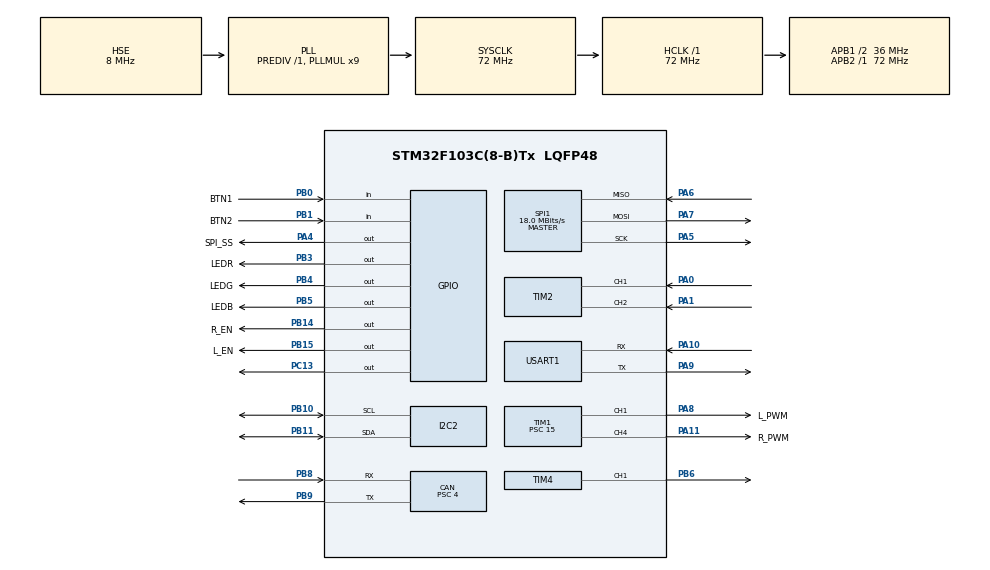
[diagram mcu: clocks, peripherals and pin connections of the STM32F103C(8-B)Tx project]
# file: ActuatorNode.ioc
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CAN.BS1=CAN_BS1_13TQ
CAN.BS2=CAN_BS2_4TQ
CAN.CalculateBaudRate=500000
CAN.CalculateTimeBit=2000
CAN.CalculateTimeQuantum=111.11111111111111
CAN.Prescaler=4
CAN.SJW=CAN_SJW_2TQ
Mcu.Family=STM32F1
Mcu.Name=STM32F103C(8-B)Tx
Mcu.Package=LQFP48
NVIC.CAN1_RX1_IRQn=true\:0\:0\:false\:false\:true\:true\:true\:true
NVIC.PriorityGroup=NVIC_PRIORITYGROUP_4
NVIC.TIM2_IRQn=true\:0\:0\:false\:false\:true\:true\:true\:true
NVIC.TIM3_IRQn=true\:0\:0\:false\:false\:true\:true\:true\:true
PA0-WKUP.Signal=S_TIM2_CH1_ETR
PA1.Signal=S_TIM2_CH2
PA10.Mode=Asynchronous
PA10.Signal=USART1_RX
PA11.GPIO_Label=R_PWM
PA11.Signal=S_TIM1_CH4
PA4.GPIO_Label=SPI_SS
PA4.Signal=GPIO_Output
PA5.Mode=Full_Duplex_Master
PA5.Signal=SPI1_SCK
PA6.Mode=Full_Duplex_Master
PA6.Signal=SPI1_MISO
PA7.Mode=Full_Duplex_Master
PA7.Signal=SPI1_MOSI
PA8.GPIO_Label=L_PWM
PA8.Signal=S_TIM1_CH1
PA9.Mode=Asynchronous
PA9.Signal=USART1_TX
PB0.GPIO_Label=BTN1
PB0.Signal=GPIO_Input
PB1.GPIO_Label=BTN2
PB1.Signal=GPIO_Input
PB10.Mode=I2C
PB10.Signal=I2C2_SCL
PB11.Mode=I2C
PB11.Signal=I2C2_SDA
PB14.GPIO_Label=R_EN
PB14.Signal=GPIO_Output
PB15.GPIO_Label=L_EN
PB15.Signal=GPIO_Output
PB3.GPIO_Label=LEDR
PB3.PinState=GPIO_PIN_SET
PB3.Signal=GPIO_Output
PB4.GPIO_Label=LEDG
PB4.PinState=GPIO_PIN_SET
PB4.Signal=GPIO_Output
PB5.GPIO_Label=LEDB
PB5.PinState=GPIO_PIN_SET
PB5.Signal=GPIO_Output
PB6.Signal=S_TIM4_CH1
PB8.Mode=CAN_Activate
PB8.Signal=CAN_RX
PB9.Mode=CAN_Activate
PB9.Signal=CAN_TX
PC13-TAMPER-RTC.GPIO_PuPd=GPIO_PULLUP
PC13-TAMPER-RTC.Signal=GPIO_Output
PD0-OSC_IN.Mode=HSE-External-Oscillator
PD0-OSC_IN.Signal=RCC_OSC_IN
PD1-OSC_OUT.Mode=HSE-External-Oscillator
PD1-OSC_OUT.Signal=RCC_OSC_OUT
ProjectManager.HeapSize=0x200
ProjectManager.StackSize=0x400
ProjectManager.TargetToolchain=STM32CubeIDE
RCC.AHBFreq_Value=72000000
RCC.APB1CLKDivider=RCC_HCLK_DIV2
RCC.APB1Freq_Value=36000000
RCC.APB1TimFreq_Value=72000000
RCC.APB2Freq_Value=72000000
RCC.APB2TimFreq_Value=72000000
RCC.HCLKFreq_Value=72000000
RCC.PLLMUL=RCC_PLL_MUL9
RCC.PLLSourceVirtual=RCC_PLLSOURCE_HSE
RCC.SYSCLKFreq_VALUE=72000000
RCC.SYSCLKSource=RCC_SYSCLKSOURCE_PLLCLK
RCC.USBFreq_Value=72000000
SH.S_TIM1_CH1.0=TIM1_CH1,PWM Generation1 CH1
SH.S_TIM1_CH4.0=TIM1_CH4,PWM Generation4 CH4
SH.S_TIM2_CH1_ETR.0=TIM2_CH1,Encoder_Interface
SH.S_TIM2_CH2.0=TIM2_CH2,Encoder_Interface
SH.S_TIM4_CH1.0=TIM4_CH1,PWM Generation1 CH1
SPI1.BaudRatePrescaler=SPI_BAUDRATEPRESCALER_4
SPI1.CalculateBaudRate=18.0 MBits/s
SPI1.Direction=SPI_DIRECTION_2LINES
SPI1.Mode=SPI_MODE_MASTER
SPI1.VirtualType=VM_MASTER
TIM1.Channel-PWM\ Generation1\ CH1=TIM_CHANNEL_1
TIM1.Channel-PWM\ Generation4\ CH4=TIM_CHANNEL_4
TIM1.Period=99
TIM1.Prescaler=15
TIM3.Period=199
TIM3.Prescaler=35999
TIM4.Channel-PWM\ Generation1\ CH1=TIM_CHANNEL_1
TIM4.Period=1999
TIM4.Prescaler=719
USART1.VirtualMode=VM_ASYNC
VP_TIM3_VS_ClockSourceINT.Mode=Internal
board=custom

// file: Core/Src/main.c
/* USER CODE BEGIN Header */
/**
  ******************************************************************************
  * @file           : main.c
  * @brief          : Main program body
  ******************************************************************************
  * @attention
  *
  * Copyright (c) 2023 STMicroelectronics.
  * All rights reserved.
  *
  * This software is licensed under terms that can be found in the LICENSE file
  * in the root directory of this software component.
  * If no LICENSE file comes with this software, it is provided AS-IS.
  *
  ******************************************************************************
  */
/* USER CODE END Header */

#include "main.h"

/* USER CODE BEGIN Includes */
#include "gpio.h"
#include "timer.h"
#include "uart.h"
#include "can_project_actuator.h"
#include "motor.h"
#include "servo.h"
#include "pid.h"
/* USER CODE END Includes */

CAN_HandleTypeDef hcan;

I2C_HandleTypeDef hi2c2;

SPI_HandleTypeDef hspi1;

TIM_HandleTypeDef htim1;
TIM_HandleTypeDef htim2;
TIM_HandleTypeDef htim3;
TIM_HandleTypeDef htim4;

UART_HandleTypeDef huart1;

/* USER CODE BEGIN PV */
/* CAN Tx variables */
CAN_TxHeaderTypeDef CANTxHeader;
uint8_t CANTxBuffer[] = {0x01, 0x02, 0x00, 0x00, 0x00, 0x00, 0x00, 0x00};
uint32_t CANTxMailboxes = CAN_TX_MAILBOX1;
/* CAN Rx variables */
extern uint8_t CANRxBuffer[];
extern uint8_t CANDiagnosticRequestRcvFlag;
extern CAN_RxHeaderTypeDef CANRxHeader;
CANActuatorData CANTxData = {.sequence = 0, .speed = CAN_SPEED_MIN};
uint8_t last_seq = 0, cur_seq;
extern uint32_t timeElapsed;
motorConfig	motor1;
encoderMotor encoderInfo = {.encodeCnt = 0, .position = 0, .preEncoderCnt = 0, .prePosition = 0, .speed = 0, .timeIndex = 0, .numRoundPerSec = 0};
PIDInfor pidInfor = {.kp = KP, .ki = KI, .kd = KD, .error = 0, .prevError = 0, .errorIntergral = 0, .currT = 0, .prevT = 0, .deltaT = 0, .outputPID = 0, .timeCountPID = 0};
int timeCountTest = 0;
int timeCountTest2 = 0;
float des_speed = 13;    // xe bự 40
float cur_speed = CAN_SPEED_MIN;
extern uint8_t CANDataRcvFlag;
extern uint8_t urgent_mode;
uint8_t backward = 0;
uint8_t isPrint = false;

/* USER CODE END PV */

void SystemClock_Config(void);
static void MX_GPIO_Init(void);
static void MX_I2C2_Init(void);
static void MX_SPI1_Init(void);
static void MX_TIM2_Init(void);
static void MX_TIM3_Init(void);
static void MX_TIM4_Init(void);
static void MX_USART1_UART_Init(void);
static void MX_CAN_Init(void);
static void MX_TIM1_Init(void);

int main(void)
{

  /* MCU Configuration--------------------------------------------------------*/

  /* Reset of all peripherals, Initializes the Flash interface and the Systick. */
  HAL_Init();

  /* Configure the system clock */
  SystemClock_Config();

  /* Initialize all configured peripherals */
  MX_GPIO_Init();
  MX_I2C2_Init();
  MX_SPI1_Init();
  MX_TIM2_Init();
  MX_TIM3_Init();
  MX_TIM4_Init();
  MX_USART1_UART_Init();
  MX_CAN_Init();
  MX_TIM1_Init();
  /* USER CODE BEGIN 2 */
  HAL_TIM_Base_Start_IT(&htim3);
  if (HAL_CAN_Start(&hcan) != HAL_OK)
  {
	  Error_Handler();
  }
  HAL_CAN_ActivateNotification(&hcan, CAN_IT_RX_FIFO1_MSG_PENDING);

  startEncoder();
  motorInit(&motor1, &htim1, TIM_CHANNEL_1, TIM_CHANNEL_4, L_EN_GPIO_Port, L_EN_Pin, R_EN_GPIO_Port, R_EN_Pin);
  startMotor(&motor1);
  initServo();
  printf("Actuator\n");
  uint8_t PWM = 0;
  float outPID = 0;
  uint8_t angle;
  /* USER CODE END 2 */

  /* Infinite loop */
  /* USER CODE BEGIN WHILE */
  while (1)
  {
	updateEncoder();
	cur_speed = encoderInfo.speed;
	if (CANDataRcvFlag == 1 )
	{
		CANTxData.sequence++;
		CANTxData.speed = (uint8_t)cur_speed;
		des_speed = (float)CANRxBuffer[CAN_SENSOR_DATA_SPEED_IDX];
		timeElapsed = 0;
		CANDataRcvFlag = 0;
		cur_seq = CANRxBuffer[CAN_DATA_SEQ_IDX] << 8 |
					CANRxBuffer[CAN_DATA_SEQ_IDX+1];
		uint8_t direction1 = CANRxBuffer[CAN_SENSOR_DATA_DIRECT1_IDX];
		uint8_t direction2 = CANRxBuffer[CAN_SENSOR_DATA_DIRECT2_IDX];
		if (urgent_mode == 1)
		{
			if (cur_speed > CAN_SPEED_MIN)
			{
				outPID = PID(cur_speed - 7, cur_speed);
//				PWM = speedToPWM((float)outPID);
//				PWM = speedToPWM((float)(cur_speed - 7));
//				goForward(&motor1, PWM);
				stopMotor(&motor1);
			}
			else
			{
				urgent_mode = 0;
			}
		}
		else
		{
			if (cur_seq == last_seq)
			{
				urgent_mode = 1;
			}
			else
			{
				des_speed = CANRxBuffer[CAN_SENSOR_DATA_SPEED_IDX];
				switch (direction1)
				{
					case(CONTROL_DIR_FORWARD):
					{
						backward = 0;
						break;
					}
					case(CONTROL_DIR_BACKWARD):
					{
						backward = 1;
						des_speed = -des_speed;
						break;
					}
					default:
					{
						break;
					}
				}
				switch (direction2)
				{
					case(CONTROL_DIR_RIGHT):
					{
						angle = 10; //15
						break;
					}
					case(CONTROL_DIR_LEFT):
					{
						angle = 80; //90
						break;
					}
					case(CONTROL_DIR_STRAIGHT):
					{
						angle = 50; //90
						break;
					}
					default:
					{
						break;
					}
				}
				setAngle(angle);
				outPID = PID(des_speed, cur_speed);
//				PWM = speedToPWM((float)(outPID < 0) ? -outPID : outPID);
				PWM = speedToPWM((float)(13));
				if (backward == 1)
				{
					goReverse(&motor1, PWM);
				}
				else
				{
					goForward(&motor1, PWM);
				}
			}
		}
//		cur_speed = encoderInfo.speed;
		CANTxData.speed = (uint8_t)cur_speed;
		last_seq = cur_seq;
		CANActuatorResponse(&hcan, &CANTxData);
		if(timeCountTest > 200)
		{
			printf("\n\n%.02f", cur_speed);
			printf("\n\n%.02f", cur_speed);
			timeCountTest = 0;
		}
      /* USER CODE END WHILE */

      }
    }
}

void SystemClock_Config(void)
{
  RCC_OscInitTypeDef RCC_OscInitStruct = {0};
  RCC_ClkInitTypeDef RCC_ClkInitStruct = {0};

  /** Initializes the RCC Oscillators according to the specified parameters
  * in the RCC_OscInitTypeDef structure.
  */
  RCC_OscInitStruct.OscillatorType = RCC_OSCILLATORTYPE_HSE;
  RCC_OscInitStruct.HSEState = RCC_HSE_ON;
  RCC_OscInitStruct.HSEPredivValue = RCC_HSE_PREDIV_DIV1;
  RCC_OscInitStruct.HSIState = RCC_HSI_ON;
  RCC_OscInitStruct.PLL.PLLState = RCC_PLL_ON;
  RCC_OscInitStruct.PLL.PLLSource = RCC_PLLSOURCE_HSE;
  RCC_OscInitStruct.PLL.PLLMUL = RCC_PLL_MUL9;
  if (HAL_RCC_OscConfig(&RCC_OscInitStruct) != HAL_OK)
  {
    Error_Handler();
  }

  /** Initializes the CPU, AHB and APB buses clocks
  */
  RCC_ClkInitStruct.ClockType = RCC_CLOCKTYPE_HCLK|RCC_CLOCKTYPE_SYSCLK
                              |RCC_CLOCKTYPE_PCLK1|RCC_CLOCKTYPE_PCLK2;
  RCC_ClkInitStruct.SYSCLKSource = RCC_SYSCLKSOURCE_PLLCLK;
  RCC_ClkInitStruct.AHBCLKDivider = RCC_SYSCLK_DIV1;
  RCC_ClkInitStruct.APB1CLKDivider = RCC_HCLK_DIV2;
  RCC_ClkInitStruct.APB2CLKDivider = RCC_HCLK_DIV1;

  if (HAL_RCC_ClockConfig(&RCC_ClkInitStruct, FLASH_LATENCY_2) != HAL_OK)
  {
    Error_Handler();
  }
}

static void MX_CAN_Init(void)
{

  hcan.Instance = CAN1;
  hcan.Init.Prescaler = 4;
  hcan.Init.Mode = CAN_MODE_NORMAL;
  hcan.Init.SyncJumpWidth = CAN_SJW_2TQ;
  hcan.Init.TimeSeg1 = CAN_BS1_13TQ;
  hcan.Init.TimeSeg2 = CAN_BS2_4TQ;
  hcan.Init.TimeTriggeredMode = DISABLE;
  hcan.Init.AutoBusOff = DISABLE;
  hcan.Init.AutoWakeUp = DISABLE;
  hcan.Init.AutoRetransmission = DISABLE;
  hcan.Init.ReceiveFifoLocked = DISABLE;
  hcan.Init.TransmitFifoPriority = DISABLE;
  if (HAL_CAN_Init(&hcan) != HAL_OK)
  {
    Error_Handler();
  }
  /* USER CODE BEGIN CAN_Init 2 */
  CAN_FilterTypeDef canfilterconfig;

  canfilterconfig.FilterActivation = CAN_FILTER_ENABLE;
  canfilterconfig.FilterBank = 12;  // which filter bank to use from the assigned ones
  canfilterconfig.FilterFIFOAssignment = CAN_FILTER_FIFO1;
  canfilterconfig.FilterIdHigh = CAN_PROJECT_SENSOR_STDID<<5;
  canfilterconfig.FilterIdLow = 0;
  canfilterconfig.FilterMaskIdHigh = CAN_PROJECT_SENSOR_STDID<<5;
  canfilterconfig.FilterMaskIdLow = 0x0000;
  canfilterconfig.FilterMode = CAN_FILTERMODE_IDMASK;
  canfilterconfig.FilterScale = CAN_FILTERSCALE_32BIT;
  canfilterconfig.SlaveStartFilterBank = 13;  // how many filters to assign to the CAN1 (master can)

  HAL_CAN_ConfigFilter(&hcan, &canfilterconfig);
  /* USER CODE END CAN_Init 2 */

}

static void MX_I2C2_Init(void)
{

  hi2c2.Instance = I2C2;
  hi2c2.Init.ClockSpeed = 100000;
  hi2c2.Init.DutyCycle = I2C_DUTYCYCLE_2;
  hi2c2.Init.OwnAddress1 = 0;
  hi2c2.Init.AddressingMode = I2C_ADDRESSINGMODE_7BIT;
  hi2c2.Init.DualAddressMode = I2C_DUALADDRESS_DISABLE;
  hi2c2.Init.OwnAddress2 = 0;
  hi2c2.Init.GeneralCallMode = I2C_GENERALCALL_DISABLE;
  hi2c2.Init.NoStretchMode = I2C_NOSTRETCH_DISABLE;
  if (HAL_I2C_Init(&hi2c2) != HAL_OK)
  {
    Error_Handler();
  }

}

static void MX_SPI1_Init(void)
{

  /* SPI1 parameter configuration*/
  hspi1.Instance = SPI1;
  hspi1.Init.Mode = SPI_MODE_MASTER;
  hspi1.Init.Direction = SPI_DIRECTION_2LINES;
  hspi1.Init.DataSize = SPI_DATASIZE_8BIT;
  hspi1.Init.CLKPolarity = SPI_POLARITY_LOW;
  hspi1.Init.CLKPhase = SPI_PHASE_1EDGE;
  hspi1.Init.NSS = SPI_NSS_SOFT;
  hspi1.Init.BaudRatePrescaler = SPI_BAUDRATEPRESCALER_4;
  hspi1.Init.FirstBit = SPI_FIRSTBIT_MSB;
  hspi1.Init.TIMode = SPI_TIMODE_DISABLE;
  hspi1.Init.CRCCalculation = SPI_CRCCALCULATION_DISABLE;
  hspi1.Init.CRCPolynomial = 10;
  if (HAL_SPI_Init(&hspi1) != HAL_OK)
  {
    Error_Handler();
  }

}

static void MX_TIM1_Init(void)
{

  TIM_MasterConfigTypeDef sMasterConfig = {0};
  TIM_OC_InitTypeDef sConfigOC = {0};
  TIM_BreakDeadTimeConfigTypeDef sBreakDeadTimeConfig = {0};

  htim1.Instance = TIM1;
  htim1.Init.Prescaler = 15;
  htim1.Init.CounterMode = TIM_COUNTERMODE_UP;
  htim1.Init.Period = 99;
  htim1.Init.ClockDivision = TIM_CLOCKDIVISION_DIV1;
  htim1.Init.RepetitionCounter = 0;
  htim1.Init.AutoReloadPreload = TIM_AUTORELOAD_PRELOAD_DISABLE;
  if (HAL_TIM_PWM_Init(&htim1) != HAL_OK)
  {
    Error_Handler();
  }
  sMasterConfig.MasterOutputTrigger = TIM_TRGO_RESET;
  sMasterConfig.MasterSlaveMode = TIM_MASTERSLAVEMODE_DISABLE;
  if (HAL_TIMEx_MasterConfigSynchronization(&htim1, &sMasterConfig) != HAL_OK)
  {
    Error_Handler();
  }
  sConfigOC.OCMode = TIM_OCMODE_PWM1;
  sConfigOC.Pulse = 0;
  sConfigOC.OCPolarity = TIM_OCPOLARITY_HIGH;
  sConfigOC.OCNPolarity = TIM_OCNPOLARITY_HIGH;
  sConfigOC.OCFastMode = TIM_OCFAST_DISABLE;
  sConfigOC.OCIdleState = TIM_OCIDLESTATE_RESET;
  sConfigOC.OCNIdleState = TIM_OCNIDLESTATE_RESET;
  if (HAL_TIM_PWM_ConfigChannel(&htim1, &sConfigOC, TIM_CHANNEL_1) != HAL_OK)
  {
    Error_Handler();
  }
  if (HAL_TIM_PWM_ConfigChannel(&htim1, &sConfigOC, TIM_CHANNEL_4) != HAL_OK)
  {
    Error_Handler();
  }
  sBreakDeadTimeConfig.OffStateRunMode = TIM_OSSR_DISABLE;
  sBreakDeadTimeConfig.OffStateIDLEMode = TIM_OSSI_DISABLE;
  sBreakDeadTimeConfig.LockLevel = TIM_LOCKLEVEL_OFF;
  sBreakDeadTimeConfig.DeadTime = 0;
  sBreakDeadTimeConfig.BreakState = TIM_BREAK_DISABLE;
  sBreakDeadTimeConfig.BreakPolarity = TIM_BREAKPOLARITY_HIGH;
  sBreakDeadTimeConfig.AutomaticOutput = TIM_AUTOMATICOUTPUT_DISABLE;
  if (HAL_TIMEx_ConfigBreakDeadTime(&htim1, &sBreakDeadTimeConfig) != HAL_OK)
  {
    Error_Handler();
  }
  HAL_TIM_MspPostInit(&htim1);

}

static void MX_TIM2_Init(void)
{

  TIM_Encoder_InitTypeDef sConfig = {0};
  TIM_MasterConfigTypeDef sMasterConfig = {0};

  htim2.Instance = TIM2;
  htim2.Init.Prescaler = 0;
  htim2.Init.CounterMode = TIM_COUNTERMODE_UP;
  htim2.Init.Period = 65535;
  htim2.Init.ClockDivision = TIM_CLOCKDIVISION_DIV1;
  htim2.Init.AutoReloadPreload = TIM_AUTORELOAD_PRELOAD_DISABLE;
  sConfig.EncoderMode = TIM_ENCODERMODE_TI1;
  sConfig.IC1Polarity = TIM_ICPOLARITY_RISING;
  sConfig.IC1Selection = TIM_ICSELECTION_DIRECTTI;
  sConfig.IC1Prescaler = TIM_ICPSC_DIV1;
  sConfig.IC1Filter = 0;
  sConfig.IC2Polarity = TIM_ICPOLARITY_RISING;
  sConfig.IC2Selection = TIM_ICSELECTION_DIRECTTI;
  sConfig.IC2Prescaler = TIM_ICPSC_DIV1;
  sConfig.IC2Filter = 0;
  if (HAL_TIM_Encoder_Init(&htim2, &sConfig) != HAL_OK)
  {
    Error_Handler();
  }
  sMasterConfig.MasterOutputTrigger = TIM_TRGO_RESET;
  sMasterConfig.MasterSlaveMode = TIM_MASTERSLAVEMODE_DISABLE;
  if (HAL_TIMEx_MasterConfigSynchronization(&htim2, &sMasterConfig) != HAL_OK)
  {
    Error_Handler();
  }

}

static void MX_TIM3_Init(void)
{

  TIM_ClockConfigTypeDef sClockSourceConfig = {0};
  TIM_MasterConfigTypeDef sMasterConfig = {0};

  htim3.Instance = TIM3;
  htim3.Init.Prescaler = 35999;
  htim3.Init.CounterMode = TIM_COUNTERMODE_UP;
  htim3.Init.Period = 199;
  htim3.Init.ClockDivision = TIM_CLOCKDIVISION_DIV1;
  htim3.Init.AutoReloadPreload = TIM_AUTORELOAD_PRELOAD_DISABLE;
  if (HAL_TIM_Base_Init(&htim3) != HAL_OK)
  {
    Error_Handler();
  }
  sClockSourceConfig.ClockSource = TIM_CLOCKSOURCE_INTERNAL;
  if (HAL_TIM_ConfigClockSource(&htim3, &sClockSourceConfig) != HAL_OK)
  {
    Error_Handler();
  }
  sMasterConfig.MasterOutputTrigger = TIM_TRGO_RESET;
  sMasterConfig.MasterSlaveMode = TIM_MASTERSLAVEMODE_DISABLE;
  if (HAL_TIMEx_MasterConfigSynchronization(&htim3, &sMasterConfig) != HAL_OK)
  {
    Error_Handler();
  }

}

static void MX_TIM4_Init(void)
{

  TIM_MasterConfigTypeDef sMasterConfig = {0};
  TIM_OC_InitTypeDef sConfigOC = {0};

  htim4.Instance = TIM4;
  htim4.Init.Prescaler = 719;
  htim4.Init.CounterMode = TIM_COUNTERMODE_UP;
  htim4.Init.Period = 1999;
  htim4.Init.ClockDivision = TIM_CLOCKDIVISION_DIV1;
  htim4.Init.AutoReloadPreload = TIM_AUTORELOAD_PRELOAD_DISABLE;
  if (HAL_TIM_PWM_Init(&htim4) != HAL_OK)
  {
    Error_Handler();
  }
  sMasterConfig.MasterOutputTrigger = TIM_TRGO_RESET;
  sMasterConfig.MasterSlaveMode = TIM_MASTERSLAVEMODE_DISABLE;
  if (HAL_TIMEx_MasterConfigSynchronization(&htim4, &sMasterConfig) != HAL_OK)
  {
    Error_Handler();
  }
  sConfigOC.OCMode = TIM_OCMODE_PWM1;
  sConfigOC.Pulse = 0;
  sConfigOC.OCPolarity = TIM_OCPOLARITY_HIGH;
  sConfigOC.OCFastMode = TIM_OCFAST_DISABLE;
  if (HAL_TIM_PWM_ConfigChannel(&htim4, &sConfigOC, TIM_CHANNEL_1) != HAL_OK)
  {
    Error_Handler();
  }
  HAL_TIM_MspPostInit(&htim4);

}

static void MX_USART1_UART_Init(void)
{

  huart1.Instance = USART1;
  huart1.Init.BaudRate = 115200;
  huart1.Init.WordLength = UART_WORDLENGTH_8B;
  huart1.Init.StopBits = UART_STOPBITS_1;
  huart1.Init.Parity = UART_PARITY_NONE;
  huart1.Init.Mode = UART_MODE_TX_RX;
  huart1.Init.HwFlowCtl = UART_HWCONTROL_NONE;
  huart1.Init.OverSampling = UART_OVERSAMPLING_16;
  if (HAL_UART_Init(&huart1) != HAL_OK)
  {
    Error_Handler();
  }

}

static void MX_GPIO_Init(void)
{
  GPIO_InitTypeDef GPIO_InitStruct = {0};

  /* GPIO Ports Clock Enable */
  __HAL_RCC_GPIOC_CLK_ENABLE();
  __HAL_RCC_GPIOD_CLK_ENABLE();
  __HAL_RCC_GPIOA_CLK_ENABLE();
  __HAL_RCC_GPIOB_CLK_ENABLE();

  /*Configure GPIO pin Output Level */
  HAL_GPIO_WritePin(GPIOC, GPIO_PIN_13, GPIO_PIN_RESET);

  /*Configure GPIO pin Output Level */
  HAL_GPIO_WritePin(SPI_SS_GPIO_Port, SPI_SS_Pin, GPIO_PIN_RESET);

  /*Configure GPIO pin Output Level */
  HAL_GPIO_WritePin(GPIOB, R_EN_Pin|L_EN_Pin, GPIO_PIN_RESET);

  /*Configure GPIO pin Output Level */
  HAL_GPIO_WritePin(GPIOB, LEDR_Pin|LEDG_Pin|LEDB_Pin, GPIO_PIN_SET);

  /*Configure GPIO pin : PC13 */
  GPIO_InitStruct.Pin = GPIO_PIN_13;
  GPIO_InitStruct.Mode = GPIO_MODE_OUTPUT_PP;
  GPIO_InitStruct.Pull = GPIO_PULLUP;
  GPIO_InitStruct.Speed = GPIO_SPEED_FREQ_LOW;
  HAL_GPIO_Init(GPIOC, &GPIO_InitStruct);

  /*Configure GPIO pin : SPI_SS_Pin */
  GPIO_InitStruct.Pin = SPI_SS_Pin;
  GPIO_InitStruct.Mode = GPIO_MODE_OUTPUT_PP;
  GPIO_InitStruct.Pull = GPIO_NOPULL;
  GPIO_InitStruct.Speed = GPIO_SPEED_FREQ_LOW;
  HAL_GPIO_Init(SPI_SS_GPIO_Port, &GPIO_InitStruct);

  /*Configure GPIO pins : BTN1_Pin BTN2_Pin */
  GPIO_InitStruct.Pin = BTN1_Pin|BTN2_Pin;
  GPIO_InitStruct.Mode = GPIO_MODE_INPUT;
  GPIO_InitStruct.Pull = GPIO_NOPULL;
  HAL_GPIO_Init(GPIOB, &GPIO_InitStruct);

  /*Configure GPIO pins : R_EN_Pin L_EN_Pin LEDR_Pin LEDG_Pin
                           LEDB_Pin */
  GPIO_InitStruct.Pin = R_EN_Pin|L_EN_Pin|LEDR_Pin|LEDG_Pin
                          |LEDB_Pin;
  GPIO_InitStruct.Mode = GPIO_MODE_OUTPUT_PP;
  GPIO_InitStruct.Pull = GPIO_NOPULL;
  GPIO_InitStruct.Speed = GPIO_SPEED_FREQ_LOW;
  HAL_GPIO_Init(GPIOB, &GPIO_InitStruct);

}

void Error_Handler(void)
{
  __disable_irq();
  while (1)
  {
  }
}
